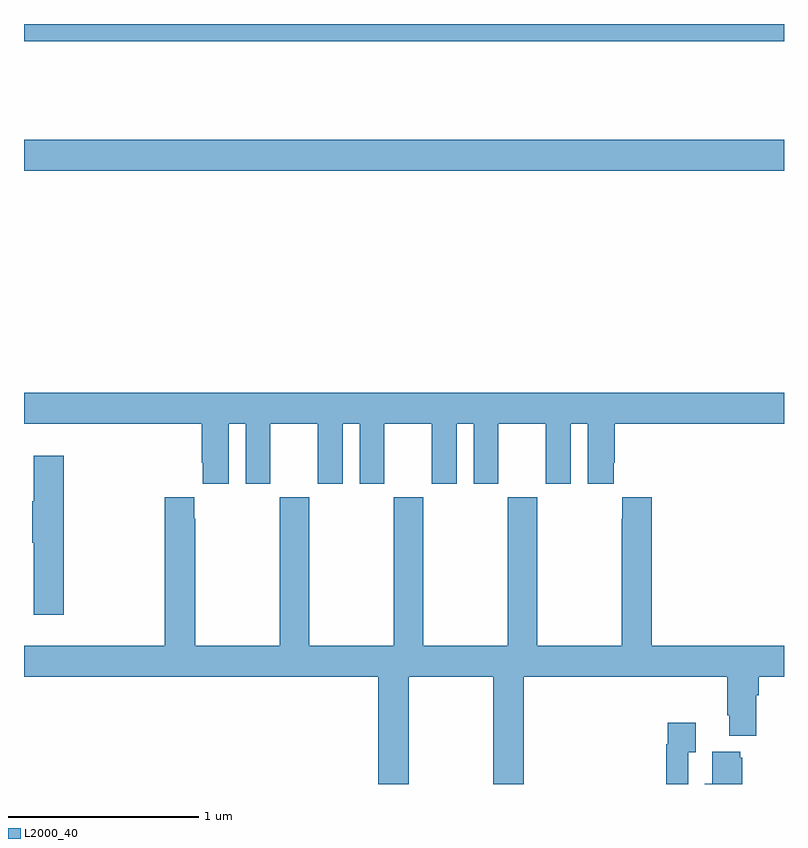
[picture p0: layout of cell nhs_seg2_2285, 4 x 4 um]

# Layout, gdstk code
import gdstk
lib = gdstk.Library(unit=1e-6, precision=1e-09)
def R(c, l, rs):  # rectangles x0, y0, x1, y1
    for r in rs: c.add(gdstk.rectangle(r[:2], r[2:], *l))
def P(c, l, *ps):  # polygons
    for p in ps: c.add(gdstk.Polygon(p, *l))
L2000_40 = (2000, 40)

nhs_seg2_2285 = lib.new_cell('nhs_seg2_2285')
R(nhs_seg2_2285, L2000_40, [(231,589.028,235,589.192), (231,589.708,235,589.8)])
P(nhs_seg2_2285, L2000_40, [(232.078,587.696),(232.166,587.696),(232.166,587.379),(232.297,587.379),(232.297,587.696),(232.547,587.696),(232.547,587.379),(232.678,587.379),(232.678,587.696),(232.766,587.696),(232.766,587.379),(232.897,587.379),(232.897,587.696),(233.147,587.696),(233.147,587.379),(233.278,587.379),(233.278,587.696),(233.366,587.696),(233.366,587.379),(233.497,587.379),(233.497,587.696),(233.747,587.696),(233.747,587.379),(233.878,587.379),(233.878,587.696),(233.966,587.696),(233.966,587.379),(234.103,587.379),(234.103,587.491),(234.11,587.491),(234.11,587.696),(235,587.696),(235,587.86),(231,587.86),(231,587.696),(231.935,587.696),(231.935,587.491),(231.941,587.491),(231.941,587.379),(232.078,587.379)],
  [(231.209,587.527),(231.05,587.527),(231.05,587.288),(231.043,587.288),(231.043,587.071),(231.05,587.071),(231.05,586.692),(231.209,586.692)],
  [(233.025,586.364),(233.47,586.364),(233.47,585.8),(233.63,585.8),(233.63,586.364),(234.701,586.364),(234.701,586.162),(234.713,586.162),(234.713,586.055),(234.853,586.055),(234.853,586.268),(234.866,586.268),(234.866,586.364),(235,586.364),(235,586.528),(234.305,586.528),(234.305,587.308),(234.149,587.308),(234.149,587.195),(234.145,587.195),(234.145,586.528),(233.7,586.528),(233.7,587.308),(233.545,587.308),(233.545,586.528),(233.1,586.528),(233.1,587.308),(232.945,587.308),(232.945,586.528),(232.5,586.528),(232.5,587.308),(232.345,587.308),(232.345,586.528),(231.9,586.528),(231.9,587.195),(231.895,587.195),(231.895,587.308),(231.74,587.308),(231.74,586.528),(231,586.528),(231,586.364),(232.865,586.364),(232.865,585.8),(233.025,585.8)],
  [(234.495,585.967),(234.535,585.967),(234.535,586.123),(234.387,586.123),(234.387,586.01),(234.379,586.01),(234.379,585.8),(234.495,585.8)],
  [(234.781,585.939),(234.77,585.939),(234.77,585.97),(234.623,585.97),(234.623,585.802),(234.584,585.802),(234.584,585.8),(234.781,585.8)])

lib.write_gds('nhs_seg2_2285.gds')
